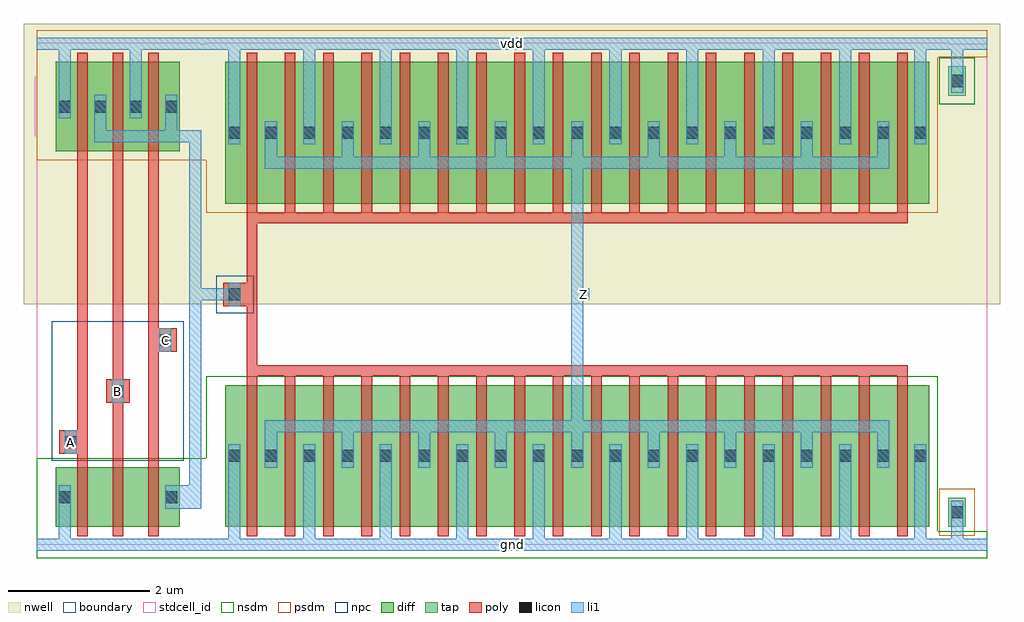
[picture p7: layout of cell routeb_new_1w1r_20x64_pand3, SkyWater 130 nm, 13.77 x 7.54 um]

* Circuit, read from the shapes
.subckt routeb_new_1w1r_20x64_pand3 A B C Z gnd vdd
XM1 routeb_new_1w1r_20x64_pnand3_0/routeb_new_1w1r_20x64_nmos_m1_w0_840_sli_dactive_3/D A gnd gnd sky130_fd_pr__nfet_01v8 w=0.84 l=0.15
XM2 routeb_new_1w1r_20x64_pnand3_0/routeb_new_1w1r_20x64_nmos_m1_w0_840_sactive_dactive_4/D B routeb_new_1w1r_20x64_pnand3_0/routeb_new_1w1r_20x64_nmos_m1_w0_840_sli_dactive_3/D gnd sky130_fd_pr__nfet_01v8 w=0.84 l=0.15
XM3 routeb_new_1w1r_20x64_pdriver_2_1/A C routeb_new_1w1r_20x64_pnand3_0/routeb_new_1w1r_20x64_nmos_m1_w0_840_sactive_dactive_4/D gnd sky130_fd_pr__nfet_01v8 w=0.84 l=0.15
XM4 Z routeb_new_1w1r_20x64_pdriver_2_1/A gnd gnd sky130_fd_pr__nfet_01v8 w=2 l=0.15 m=18
XM5 routeb_new_1w1r_20x64_pdriver_2_1/A A vdd vdd sky130_fd_pr__pfet_01v8 w=1.26 l=0.15
XM6 vdd B routeb_new_1w1r_20x64_pdriver_2_1/A vdd sky130_fd_pr__pfet_01v8 w=1.26 l=0.15
XM7 routeb_new_1w1r_20x64_pdriver_2_1/A C vdd vdd sky130_fd_pr__pfet_01v8 w=1.26 l=0.15
XM8 Z routeb_new_1w1r_20x64_pdriver_2_1/A vdd vdd sky130_fd_pr__pfet_01v8 w=2 l=0.15 m=18
.ends

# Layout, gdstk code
import gdstk
lib = gdstk.Library(unit=1e-6, precision=1e-09)
def R(c, l, rs):  # rectangles x0, y0, x1, y1
    for r in rs: c.add(gdstk.rectangle(r[:2], r[2:], *l))
def A(c, l, x, y, w, h, nx, ny, dx, dy):  # array of equal rectangles
    R(c, l, [(x+i*dx, y+j*dy, x+i*dx+w, y+j*dy+h) for i in range(nx) for j in range(ny)])
nwell = (64, 20)
diff = (65, 20)
tap = (65, 44)
poly = (66, 20)
licon = (66, 44)
li1 = (67, 20)
stdcell_id = (81, 4)
nsdm = (93, 44)
psdm = (94, 20)
npc = (95, 20)
boundary = (235, 4)

routeb_new_1w1r_20x64_co = lib.new_cell('routeb_new_1w1r_20x64_contact_11')
R(routeb_new_1w1r_20x64_co, nwell, [(-0.295,-0.255,0.545,0.585)])
R(routeb_new_1w1r_20x64_co, diff, [(0,0.02,0.25,0.31)])
R(routeb_new_1w1r_20x64_co, licon, [(0.04,0.08,0.21,0.25)])
R(routeb_new_1w1r_20x64_co, li1, [(0.04,0,0.21,0.33)])
R(routeb_new_1w1r_20x64_co, stdcell_id, [(-0.295,-0.255,0.545,0.585)])
R(routeb_new_1w1r_20x64_co, psdm, [(-0.125,-0.105,0.375,0.435)])
R(routeb_new_1w1r_20x64_co, boundary, [(-0.295,-0.255,0.545,0.585)])

routeb_new_1w1r_20x64_pm = lib.new_cell('routeb_new_1w1r_20x64_pmos_m1_w1_260_sli_dli')
R(routeb_new_1w1r_20x64_pm, nwell, [(-0.27,-0.27,1.02,1.53)])
R(routeb_new_1w1r_20x64_pm, diff, [(0,0,0.75,1.26)])
R(routeb_new_1w1r_20x64_pm, poly, [(0.3,-0.13,0.45,1.39), (0.3,-0.13,0.45,1.39)])
R(routeb_new_1w1r_20x64_pm, li1, [(0.04,0.465,0.21,0.795), (0.54,0.465,0.71,0.795)])
R(routeb_new_1w1r_20x64_pm, stdcell_id, [(-0.27,-0.27,1.02,1.53)])
R(routeb_new_1w1r_20x64_pm, psdm, [(-0.125,-0.125,0.875,1.385)])
R(routeb_new_1w1r_20x64_pm, boundary, [(-0.27,-0.27,1.02,1.53)])
routeb_new_1w1r_20x64_pm.add(gdstk.Reference(routeb_new_1w1r_20x64_co, (0,0.465)))
routeb_new_1w1r_20x64_pm.add(gdstk.Reference(routeb_new_1w1r_20x64_co, (0.5,0.465)))
routeb_new_1w1r_20x64_pm.add(gdstk.Label('G', (0.375,0.63), layer=66, texttype=5))
routeb_new_1w1r_20x64_pm.add(gdstk.Label('S', (0.125,0.63), layer=67, texttype=5))
routeb_new_1w1r_20x64_pm.add(gdstk.Label('D', (0.625,0.63), layer=67, texttype=5))

c_routeb_new_1w1r_20x64_co = lib.new_cell('routeb_new_1w1r_20x64_contact_10')
R(c_routeb_new_1w1r_20x64_co, diff, [(0,0.02,0.25,0.31)])
R(c_routeb_new_1w1r_20x64_co, licon, [(0.04,0.08,0.21,0.25)])
R(c_routeb_new_1w1r_20x64_co, li1, [(0.04,0,0.21,0.33)])
R(c_routeb_new_1w1r_20x64_co, stdcell_id, [(-0.125,-0.105,0.375,0.435)])
R(c_routeb_new_1w1r_20x64_co, nsdm, [(-0.125,-0.105,0.375,0.435)])
R(c_routeb_new_1w1r_20x64_co, boundary, [(-0.125,-0.105,0.375,0.435)])

routeb_new_1w1r_20x64_nm = lib.new_cell('routeb_new_1w1r_20x64_nmos_m1_w0_840_sli_dactive')
R(routeb_new_1w1r_20x64_nm, diff, [(0,0,0.75,0.84), (0.55,0.345,0.7,0.495)])
R(routeb_new_1w1r_20x64_nm, poly, [(0.3,-0.13,0.45,0.97), (0.3,-0.13,0.45,0.97)])
R(routeb_new_1w1r_20x64_nm, li1, [(0.04,0.255,0.21,0.585)])
R(routeb_new_1w1r_20x64_nm, stdcell_id, [(-0.125,-0.13,0.875,0.97)])
R(routeb_new_1w1r_20x64_nm, nsdm, [(-0.125,-0.125,0.875,0.965)])
R(routeb_new_1w1r_20x64_nm, boundary, [(-0.125,-0.13,0.875,0.97)])
routeb_new_1w1r_20x64_nm.add(gdstk.Reference(c_routeb_new_1w1r_20x64_co, (0,0.255)))
routeb_new_1w1r_20x64_nm.add(gdstk.Label('G', (0.375,0.42), layer=66, texttype=5))
routeb_new_1w1r_20x64_nm.add(gdstk.Label('S', (0.125,0.42), layer=67, texttype=5))
routeb_new_1w1r_20x64_nm.add(gdstk.Label('D', (0.625,0.42), layer=65, texttype=5))

c_routeb_new_1w1r_20x64_nm = lib.new_cell('routeb_new_1w1r_20x64_nmos_m1_w0_840_sactive_dactive')
R(c_routeb_new_1w1r_20x64_nm, diff, [(0,0,0.75,0.84), (0.05,0.345,0.2,0.495), (0.55,0.345,0.7,0.495)])
R(c_routeb_new_1w1r_20x64_nm, poly, [(0.3,-0.13,0.45,0.97), (0.3,-0.13,0.45,0.97)])
R(c_routeb_new_1w1r_20x64_nm, stdcell_id, [(-0.125,-0.13,0.875,0.97)])
R(c_routeb_new_1w1r_20x64_nm, nsdm, [(-0.125,-0.125,0.875,0.965)])
R(c_routeb_new_1w1r_20x64_nm, boundary, [(-0.125,-0.13,0.875,0.97)])
c_routeb_new_1w1r_20x64_nm.add(gdstk.Label('G', (0.375,0.42), layer=66, texttype=5))
c_routeb_new_1w1r_20x64_nm.add(gdstk.Label('S', (0.125,0.42), layer=65, texttype=5))
c_routeb_new_1w1r_20x64_nm.add(gdstk.Label('D', (0.625,0.42), layer=65, texttype=5))

c_routeb_new_1w1r_20x64_nm_ = lib.new_cell('routeb_new_1w1r_20x64_nmos_m1_w0_840_sactive_dli')
R(c_routeb_new_1w1r_20x64_nm_, diff, [(0,0,0.75,0.84), (0.05,0.345,0.2,0.495)])
R(c_routeb_new_1w1r_20x64_nm_, poly, [(0.3,-0.13,0.45,0.97), (0.3,-0.13,0.45,0.97)])
R(c_routeb_new_1w1r_20x64_nm_, li1, [(0.54,0.255,0.71,0.585)])
R(c_routeb_new_1w1r_20x64_nm_, stdcell_id, [(-0.125,-0.13,0.875,0.97)])
R(c_routeb_new_1w1r_20x64_nm_, nsdm, [(-0.125,-0.125,0.875,0.965)])
R(c_routeb_new_1w1r_20x64_nm_, boundary, [(-0.125,-0.13,0.875,0.97)])
c_routeb_new_1w1r_20x64_nm_.add(gdstk.Reference(c_routeb_new_1w1r_20x64_co, (0.5,0.255)))
c_routeb_new_1w1r_20x64_nm_.add(gdstk.Label('G', (0.375,0.42), layer=66, texttype=5))
c_routeb_new_1w1r_20x64_nm_.add(gdstk.Label('S', (0.125,0.42), layer=65, texttype=5))
c_routeb_new_1w1r_20x64_nm_.add(gdstk.Label('D', (0.625,0.42), layer=67, texttype=5))

c_routeb_new_1w1r_20x64_co_ = lib.new_cell('routeb_new_1w1r_20x64_contact_15')
R(c_routeb_new_1w1r_20x64_co_, poly, [(0,0,0.33,0.33)])
R(c_routeb_new_1w1r_20x64_co_, licon, [(0.08,0.08,0.25,0.25)])
R(c_routeb_new_1w1r_20x64_co_, li1, [(0.08,0,0.25,0.33)])
R(c_routeb_new_1w1r_20x64_co_, stdcell_id, [(-0.1,-0.1,0.43,0.43)])
R(c_routeb_new_1w1r_20x64_co_, npc, [(-0.1,-0.1,0.43,0.43)])
R(c_routeb_new_1w1r_20x64_co_, boundary, [(-0.1,-0.1,0.43,0.43)])

routeb_new_1w1r_20x64_pn = lib.new_cell('routeb_new_1w1r_20x64_pnand3')
R(routeb_new_1w1r_20x64_pn, nwell, [(-0.18,3.395,2.57,7.355)])
A(routeb_new_1w1r_20x64_pn, poly, 0.57, 1.225, 0.15, 4.2, 3, 1, 0.5, 0)
R(routeb_new_1w1r_20x64_pn, poly, [(0.48,1.285,0.57,1.615), (1.07,2.005,1.145,2.335), (1.57,2.725,1.81,3.055)])
R(routeb_new_1w1r_20x64_pn, li1, [(0,-0.085,2.39,0.085), (0.31,-0.085,0.48,0.51), (1.895,0.51,2.235,0.84), (2.15,0.51,2.32,5.765), (0.395,1.285,0.565,1.615), (1.06,2.005,1.23,2.335), (1.725,2.725,1.895,3.055), (0.81,5.68,0.98,5.85), (0.895,5.68,2.235,5.85), (1.81,5.68,1.98,5.85), (1.895,5.68,2.235,5.85), (2.15,5.68,2.32,5.85), (0.81,5.765,0.98,6.185), (1.81,5.765,1.98,6.185), (0.31,6.02,0.48,7.155), (1.31,6.02,1.48,7.155), (0,6.985,2.39,7.155)])
R(routeb_new_1w1r_20x64_pn, stdcell_id, [(0,0,2.39,7.07), (0,0,2.39,7.07)])
R(routeb_new_1w1r_20x64_pn, nsdm, [(0,-0.19,2.39,0.19), (0,0,2.39,1.22)])
R(routeb_new_1w1r_20x64_pn, psdm, [(0,5.43,2.39,7.07), (0,6.88,2.39,7.26)])
R(routeb_new_1w1r_20x64_pn, npc, [(0.215,1.185,2.075,3.155)])
R(routeb_new_1w1r_20x64_pn, boundary, [(0,0,2.39,7.07), (0,0,2.39,7.07)])
routeb_new_1w1r_20x64_pn.add(gdstk.Reference(routeb_new_1w1r_20x64_pm, (0.27,5.555)))
routeb_new_1w1r_20x64_pn.add(gdstk.Reference(routeb_new_1w1r_20x64_pm, (0.77,5.555)))
routeb_new_1w1r_20x64_pn.add(gdstk.Reference(routeb_new_1w1r_20x64_pm, (1.27,5.555)))
routeb_new_1w1r_20x64_pn.add(gdstk.Reference(routeb_new_1w1r_20x64_nm, (0.27,0.255)))
routeb_new_1w1r_20x64_pn.add(gdstk.Reference(c_routeb_new_1w1r_20x64_nm, (0.77,0.255)))
routeb_new_1w1r_20x64_pn.add(gdstk.Reference(c_routeb_new_1w1r_20x64_nm_, (1.27,0.255)))
routeb_new_1w1r_20x64_pn.add(gdstk.Reference(c_routeb_new_1w1r_20x64_co_, (0.315,1.285)))
routeb_new_1w1r_20x64_pn.add(gdstk.Reference(c_routeb_new_1w1r_20x64_co_, (0.98,2.005)))
routeb_new_1w1r_20x64_pn.add(gdstk.Reference(c_routeb_new_1w1r_20x64_co_, (1.645,2.725)))
routeb_new_1w1r_20x64_pn.add(gdstk.Label('A', (0.48,1.45), layer=67, texttype=5))
routeb_new_1w1r_20x64_pn.add(gdstk.Label('B', (1.145,2.17), layer=67, texttype=5))
routeb_new_1w1r_20x64_pn.add(gdstk.Label('C', (1.81,2.89), layer=67, texttype=5))
routeb_new_1w1r_20x64_pn.add(gdstk.Label('Z', (2.235,5.765), layer=67, texttype=5))
routeb_new_1w1r_20x64_pn.add(gdstk.Label('gnd', (1.195,0), layer=67, texttype=5))
routeb_new_1w1r_20x64_pn.add(gdstk.Label('vdd', (1.195,7.07), layer=67, texttype=5))

c_routeb_new_1w1r_20x64_pm = lib.new_cell('routeb_new_1w1r_20x64_pmos_m18_w2_000_sli_dli_da_p')
R(c_routeb_new_1w1r_20x64_pm, nwell, [(-0.27,-0.27,10.2,2.27)])
R(c_routeb_new_1w1r_20x64_pm, diff, [(0,0,9.93,2)])
A(c_routeb_new_1w1r_20x64_pm, poly, 0.3, -0.13, 0.15, 2.26, 18, 1, 0.54, 0)
R(c_routeb_new_1w1r_20x64_pm, poly, [(0.3,-0.28,9.63,-0.13)])
A(c_routeb_new_1w1r_20x64_pm, li1, 0.56, 0.58, 0.17, 0.42, 9, 1, 1.08, 0)
A(c_routeb_new_1w1r_20x64_pm, li1, 1.1, 0.835, 0.17, 0.33, 8, 1, 1.08, 0)
R(c_routeb_new_1w1r_20x64_pm, li1, [(0.56,0.495,9.37,0.665), (0.04,0.835,0.21,1.165), (9.72,0.835,9.89,1.165)])
R(c_routeb_new_1w1r_20x64_pm, stdcell_id, [(-0.27,-0.28,10.2,2.27)])
R(c_routeb_new_1w1r_20x64_pm, psdm, [(-0.125,-0.125,10.055,2.125)])
R(c_routeb_new_1w1r_20x64_pm, boundary, [(-0.27,-0.28,10.2,2.27)])
c_routeb_new_1w1r_20x64_pm.add(gdstk.Reference(routeb_new_1w1r_20x64_co, (0,0.835)))
c_routeb_new_1w1r_20x64_pm.add(gdstk.Reference(routeb_new_1w1r_20x64_co, (0.52,0.835)))
c_routeb_new_1w1r_20x64_pm.add(gdstk.Reference(routeb_new_1w1r_20x64_co, (1.06,0.835)))
c_routeb_new_1w1r_20x64_pm.add(gdstk.Reference(routeb_new_1w1r_20x64_co, (1.6,0.835)))
c_routeb_new_1w1r_20x64_pm.add(gdstk.Reference(routeb_new_1w1r_20x64_co, (2.14,0.835)))
c_routeb_new_1w1r_20x64_pm.add(gdstk.Reference(routeb_new_1w1r_20x64_co, (2.68,0.835)))
c_routeb_new_1w1r_20x64_pm.add(gdstk.Reference(routeb_new_1w1r_20x64_co, (3.22,0.835)))
c_routeb_new_1w1r_20x64_pm.add(gdstk.Reference(routeb_new_1w1r_20x64_co, (3.76,0.835)))
c_routeb_new_1w1r_20x64_pm.add(gdstk.Reference(routeb_new_1w1r_20x64_co, (4.3,0.835)))
c_routeb_new_1w1r_20x64_pm.add(gdstk.Reference(routeb_new_1w1r_20x64_co, (4.84,0.835)))
c_routeb_new_1w1r_20x64_pm.add(gdstk.Reference(routeb_new_1w1r_20x64_co, (5.38,0.835)))
c_routeb_new_1w1r_20x64_pm.add(gdstk.Reference(routeb_new_1w1r_20x64_co, (5.92,0.835)))
c_routeb_new_1w1r_20x64_pm.add(gdstk.Reference(routeb_new_1w1r_20x64_co, (6.46,0.835)))
c_routeb_new_1w1r_20x64_pm.add(gdstk.Reference(routeb_new_1w1r_20x64_co, (7,0.835)))
c_routeb_new_1w1r_20x64_pm.add(gdstk.Reference(routeb_new_1w1r_20x64_co, (7.54,0.835)))
c_routeb_new_1w1r_20x64_pm.add(gdstk.Reference(routeb_new_1w1r_20x64_co, (8.08,0.835)))
c_routeb_new_1w1r_20x64_pm.add(gdstk.Reference(routeb_new_1w1r_20x64_co, (8.62,0.835)))
c_routeb_new_1w1r_20x64_pm.add(gdstk.Reference(routeb_new_1w1r_20x64_co, (9.16,0.835)))
c_routeb_new_1w1r_20x64_pm.add(gdstk.Reference(routeb_new_1w1r_20x64_co, (9.68,0.835)))
c_routeb_new_1w1r_20x64_pm.add(gdstk.Label('G', (4.965,-0.205), layer=66, texttype=5))
c_routeb_new_1w1r_20x64_pm.add(gdstk.Label('S', (6.585,1), layer=67, texttype=5))
c_routeb_new_1w1r_20x64_pm.add(gdstk.Label('S', (9.805,1), layer=67, texttype=5))
c_routeb_new_1w1r_20x64_pm.add(gdstk.Label('S', (2.265,1), layer=67, texttype=5))
c_routeb_new_1w1r_20x64_pm.add(gdstk.Label('S', (8.745,1), layer=67, texttype=5))
c_routeb_new_1w1r_20x64_pm.add(gdstk.Label('S', (3.345,1), layer=67, texttype=5))
c_routeb_new_1w1r_20x64_pm.add(gdstk.Label('S', (1.185,1), layer=67, texttype=5))
c_routeb_new_1w1r_20x64_pm.add(gdstk.Label('S', (0.125,1), layer=67, texttype=5))
c_routeb_new_1w1r_20x64_pm.add(gdstk.Label('S', (5.505,1), layer=67, texttype=5))
c_routeb_new_1w1r_20x64_pm.add(gdstk.Label('S', (4.425,1), layer=67, texttype=5))
c_routeb_new_1w1r_20x64_pm.add(gdstk.Label('S', (7.665,1), layer=67, texttype=5))
c_routeb_new_1w1r_20x64_pm.add(gdstk.Label('D', (4.965,0.58), layer=67, texttype=5))

c_routeb_new_1w1r_20x64_nm__ = lib.new_cell('routeb_new_1w1r_20x64_nmos_m18_w2_000_sli_dli_da_p')
R(c_routeb_new_1w1r_20x64_nm__, diff, [(0,0,9.93,2)])
A(c_routeb_new_1w1r_20x64_nm__, poly, 0.3, -0.13, 0.15, 2.26, 18, 1, 0.54, 0)
R(c_routeb_new_1w1r_20x64_nm__, poly, [(0.3,2.13,9.63,2.28)])
A(c_routeb_new_1w1r_20x64_nm__, li1, 1.1, 0.835, 0.17, 0.33, 8, 1, 1.08, 0)
A(c_routeb_new_1w1r_20x64_nm__, li1, 0.56, 1, 0.17, 0.42, 9, 1, 1.08, 0)
R(c_routeb_new_1w1r_20x64_nm__, li1, [(0.04,0.835,0.21,1.165), (9.72,0.835,9.89,1.165), (0.56,1.335,9.37,1.505)])
R(c_routeb_new_1w1r_20x64_nm__, stdcell_id, [(-0.125,-0.13,10.055,2.28)])
R(c_routeb_new_1w1r_20x64_nm__, nsdm, [(-0.125,-0.125,10.055,2.125)])
R(c_routeb_new_1w1r_20x64_nm__, boundary, [(-0.125,-0.13,10.055,2.28)])
c_routeb_new_1w1r_20x64_nm__.add(gdstk.Reference(c_routeb_new_1w1r_20x64_co, (0,0.835)))
c_routeb_new_1w1r_20x64_nm__.add(gdstk.Reference(c_routeb_new_1w1r_20x64_co, (0.52,0.835)))
c_routeb_new_1w1r_20x64_nm__.add(gdstk.Reference(c_routeb_new_1w1r_20x64_co, (1.06,0.835)))
c_routeb_new_1w1r_20x64_nm__.add(gdstk.Reference(c_routeb_new_1w1r_20x64_co, (1.6,0.835)))
c_routeb_new_1w1r_20x64_nm__.add(gdstk.Reference(c_routeb_new_1w1r_20x64_co, (2.14,0.835)))
c_routeb_new_1w1r_20x64_nm__.add(gdstk.Reference(c_routeb_new_1w1r_20x64_co, (2.68,0.835)))
c_routeb_new_1w1r_20x64_nm__.add(gdstk.Reference(c_routeb_new_1w1r_20x64_co, (3.22,0.835)))
c_routeb_new_1w1r_20x64_nm__.add(gdstk.Reference(c_routeb_new_1w1r_20x64_co, (3.76,0.835)))
c_routeb_new_1w1r_20x64_nm__.add(gdstk.Reference(c_routeb_new_1w1r_20x64_co, (4.3,0.835)))
c_routeb_new_1w1r_20x64_nm__.add(gdstk.Reference(c_routeb_new_1w1r_20x64_co, (4.84,0.835)))
c_routeb_new_1w1r_20x64_nm__.add(gdstk.Reference(c_routeb_new_1w1r_20x64_co, (5.38,0.835)))
c_routeb_new_1w1r_20x64_nm__.add(gdstk.Reference(c_routeb_new_1w1r_20x64_co, (5.92,0.835)))
c_routeb_new_1w1r_20x64_nm__.add(gdstk.Reference(c_routeb_new_1w1r_20x64_co, (6.46,0.835)))
c_routeb_new_1w1r_20x64_nm__.add(gdstk.Reference(c_routeb_new_1w1r_20x64_co, (7,0.835)))
c_routeb_new_1w1r_20x64_nm__.add(gdstk.Reference(c_routeb_new_1w1r_20x64_co, (7.54,0.835)))
c_routeb_new_1w1r_20x64_nm__.add(gdstk.Reference(c_routeb_new_1w1r_20x64_co, (8.08,0.835)))
c_routeb_new_1w1r_20x64_nm__.add(gdstk.Reference(c_routeb_new_1w1r_20x64_co, (8.62,0.835)))
c_routeb_new_1w1r_20x64_nm__.add(gdstk.Reference(c_routeb_new_1w1r_20x64_co, (9.16,0.835)))
c_routeb_new_1w1r_20x64_nm__.add(gdstk.Reference(c_routeb_new_1w1r_20x64_co, (9.68,0.835)))
c_routeb_new_1w1r_20x64_nm__.add(gdstk.Label('G', (4.965,2.205), layer=66, texttype=5))
c_routeb_new_1w1r_20x64_nm__.add(gdstk.Label('S', (6.585,1), layer=67, texttype=5))
c_routeb_new_1w1r_20x64_nm__.add(gdstk.Label('S', (9.805,1), layer=67, texttype=5))
c_routeb_new_1w1r_20x64_nm__.add(gdstk.Label('S', (2.265,1), layer=67, texttype=5))
c_routeb_new_1w1r_20x64_nm__.add(gdstk.Label('S', (8.745,1), layer=67, texttype=5))
c_routeb_new_1w1r_20x64_nm__.add(gdstk.Label('S', (3.345,1), layer=67, texttype=5))
c_routeb_new_1w1r_20x64_nm__.add(gdstk.Label('S', (1.185,1), layer=67, texttype=5))
c_routeb_new_1w1r_20x64_nm__.add(gdstk.Label('S', (0.125,1), layer=67, texttype=5))
c_routeb_new_1w1r_20x64_nm__.add(gdstk.Label('S', (5.505,1), layer=67, texttype=5))
c_routeb_new_1w1r_20x64_nm__.add(gdstk.Label('S', (4.425,1), layer=67, texttype=5))
c_routeb_new_1w1r_20x64_nm__.add(gdstk.Label('S', (7.665,1), layer=67, texttype=5))
c_routeb_new_1w1r_20x64_nm__.add(gdstk.Label('D', (4.965,1.42), layer=67, texttype=5))

c_routeb_new_1w1r_20x64_co__ = lib.new_cell('routeb_new_1w1r_20x64_contact_24')
R(c_routeb_new_1w1r_20x64_co__, nwell, [(-0.295,-0.215,0.545,0.625)])
R(c_routeb_new_1w1r_20x64_co__, tap, [(0,0,0.25,0.41)])
R(c_routeb_new_1w1r_20x64_co__, licon, [(0.04,0.12,0.21,0.29)])
R(c_routeb_new_1w1r_20x64_co__, li1, [(0.04,0.04,0.21,0.37)])
R(c_routeb_new_1w1r_20x64_co__, stdcell_id, [(-0.295,-0.215,0.545,0.625)])
R(c_routeb_new_1w1r_20x64_co__, nsdm, [(-0.125,-0.125,0.375,0.535)])
R(c_routeb_new_1w1r_20x64_co__, boundary, [(-0.295,-0.215,0.545,0.625)])

c_routeb_new_1w1r_20x64_co___ = lib.new_cell('routeb_new_1w1r_20x64_contact_25')
R(c_routeb_new_1w1r_20x64_co___, tap, [(0,0,0.25,0.41)])
R(c_routeb_new_1w1r_20x64_co___, licon, [(0.04,0.12,0.21,0.29)])
R(c_routeb_new_1w1r_20x64_co___, li1, [(0.04,0.04,0.21,0.37)])
R(c_routeb_new_1w1r_20x64_co___, stdcell_id, [(-0.125,-0.125,0.375,0.535)])
R(c_routeb_new_1w1r_20x64_co___, psdm, [(-0.125,-0.125,0.375,0.535)])
R(c_routeb_new_1w1r_20x64_co___, boundary, [(-0.125,-0.125,0.375,0.535)])

routeb_new_1w1r_20x64_pi = lib.new_cell('routeb_new_1w1r_20x64_pinv_11')
R(routeb_new_1w1r_20x64_pi, nwell, [(-0.18,3.395,11.2,7.355)])
R(routeb_new_1w1r_20x64_pi, poly, [(0.57,2.535,0.72,4.535), (0.405,3.37,0.57,3.7)])
A(routeb_new_1w1r_20x64_pi, li1, 1.37, -0.085, 0.17, 1.175, 8, 1, 1.08, 0)
A(routeb_new_1w1r_20x64_pi, li1, 1.37, 5.65, 0.17, 1.505, 8, 1, 1.08, 0)
R(routeb_new_1w1r_20x64_pi, li1, [(0,-0.085,11.02,0.085), (0.31,-0.085,0.48,1.09), (9.99,-0.085,10.16,1.09), (10.51,0,10.68,0.46), (5.15,1.59,5.32,5.48), (0.32,3.37,0.49,3.7), (5.235,3.45,5.405,3.62), (0.31,5.65,0.48,7.155), (9.99,5.65,10.16,7.155), (10.51,6.545,10.68,7.07), (0,6.985,11.02,7.155)])
R(routeb_new_1w1r_20x64_pi, stdcell_id, [(0,0,11.02,7.07), (0,0,11.02,7.07)])
R(routeb_new_1w1r_20x64_pi, nsdm, [(0,-0.19,11.02,0.19), (0,0,10.325,2.38)])
R(routeb_new_1w1r_20x64_pi, psdm, [(0,4.69,10.325,7.07), (0,6.88,11.02,7.26)])
R(routeb_new_1w1r_20x64_pi, boundary, [(0,0,11.02,7.07), (0,0,11.02,7.07)])
routeb_new_1w1r_20x64_pi.add(gdstk.Reference(c_routeb_new_1w1r_20x64_pm, (0.27,4.815)))
routeb_new_1w1r_20x64_pi.add(gdstk.Reference(c_routeb_new_1w1r_20x64_nm__, (0.27,0.255)))
routeb_new_1w1r_20x64_pi.add(gdstk.Reference(c_routeb_new_1w1r_20x64_co__, (10.47,6.34)))
routeb_new_1w1r_20x64_pi.add(gdstk.Reference(c_routeb_new_1w1r_20x64_co___, (10.47,0.255)))
routeb_new_1w1r_20x64_pi.add(gdstk.Reference(c_routeb_new_1w1r_20x64_co_, (0.24,3.37)))
routeb_new_1w1r_20x64_pi.add(gdstk.Label('A', (0.405,3.535), layer=67, texttype=5))
routeb_new_1w1r_20x64_pi.add(gdstk.Label('Z', (5.32,3.535), layer=67, texttype=5))
routeb_new_1w1r_20x64_pi.add(gdstk.Label('gnd', (5.51,0), layer=67, texttype=5))
routeb_new_1w1r_20x64_pi.add(gdstk.Label('vdd', (5.51,7.07), layer=67, texttype=5))

routeb_new_1w1r_20x64_pd = lib.new_cell('routeb_new_1w1r_20x64_pdriver_2')
R(routeb_new_1w1r_20x64_pd, nwell, [(-0.18,3.395,11.2,7.355)])
R(routeb_new_1w1r_20x64_pd, li1, [(0,-0.085,11.02,0.085), (0.32,3.37,0.49,3.7), (5.235,3.45,5.405,3.62), (0,6.985,11.02,7.155)])
R(routeb_new_1w1r_20x64_pd, stdcell_id, [(0,0,11.02,7.07), (0,0,11.02,7.07)])
R(routeb_new_1w1r_20x64_pd, nsdm, [(0,-0.19,11.02,0.19)])
R(routeb_new_1w1r_20x64_pd, psdm, [(0,6.88,11.02,7.26)])
R(routeb_new_1w1r_20x64_pd, boundary, [(0,0,11.02,7.07), (0,0,11.02,7.07)])
routeb_new_1w1r_20x64_pd.add(gdstk.Reference(routeb_new_1w1r_20x64_pi, (0,0)))
routeb_new_1w1r_20x64_pd.add(gdstk.Label('Z', (5.32,3.535), layer=67, texttype=5))
routeb_new_1w1r_20x64_pd.add(gdstk.Label('A', (0.405,3.535), layer=67, texttype=5))
routeb_new_1w1r_20x64_pd.add(gdstk.Label('gnd', (5.51,0), layer=67, texttype=5))
routeb_new_1w1r_20x64_pd.add(gdstk.Label('vdd', (5.51,7.07), layer=67, texttype=5))

routeb_new_1w1r_20x64_pa = lib.new_cell('routeb_new_1w1r_20x64_pand3')
R(routeb_new_1w1r_20x64_pa, li1, [(0,-0.085,13.41,0.085), (0.395,1.285,0.565,1.615), (1.06,2.005,1.23,2.335), (1.725,2.725,1.895,3.055), (2.15,3.45,2.32,3.62), (2.235,3.45,2.795,3.62), (7.625,3.45,7.795,3.62), (2.15,3.535,2.32,5.765), (0,6.985,13.41,7.155)])
R(routeb_new_1w1r_20x64_pa, stdcell_id, [(0,0,13.41,7.07), (0,0,13.41,7.07)])
R(routeb_new_1w1r_20x64_pa, boundary, [(0,0,13.41,7.07), (0,0,13.41,7.07)])
routeb_new_1w1r_20x64_pa.add(gdstk.Reference(routeb_new_1w1r_20x64_pn, (0,0)))
routeb_new_1w1r_20x64_pa.add(gdstk.Reference(routeb_new_1w1r_20x64_pd, (2.39,0)))
routeb_new_1w1r_20x64_pa.add(gdstk.Label('Z', (7.71,3.535), layer=67, texttype=5))
routeb_new_1w1r_20x64_pa.add(gdstk.Label('A', (0.48,1.45), layer=67, texttype=5))
routeb_new_1w1r_20x64_pa.add(gdstk.Label('B', (1.145,2.17), layer=67, texttype=5))
routeb_new_1w1r_20x64_pa.add(gdstk.Label('C', (1.81,2.89), layer=67, texttype=5))
routeb_new_1w1r_20x64_pa.add(gdstk.Label('gnd', (6.705,0), layer=67, texttype=5))
routeb_new_1w1r_20x64_pa.add(gdstk.Label('vdd', (6.705,7.07), layer=67, texttype=5))

lib.write_gds('routeb_new_1w1r_20x64_pand3.gds')
